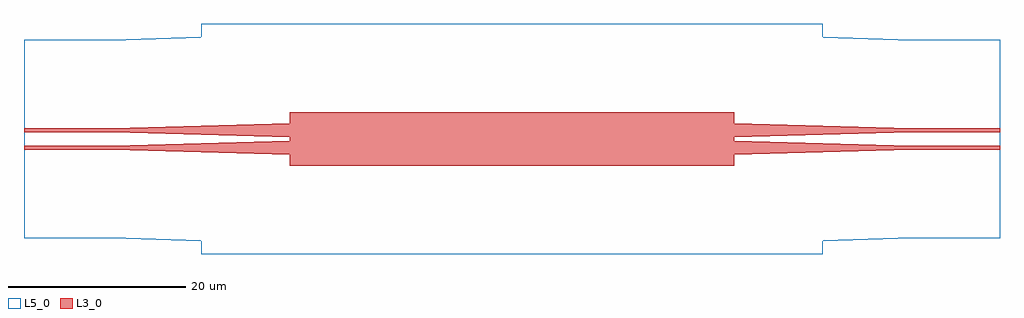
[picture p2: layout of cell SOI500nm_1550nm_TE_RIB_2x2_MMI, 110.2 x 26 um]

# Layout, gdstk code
import gdstk
lib = gdstk.Library(unit=1e-6, precision=1e-09)
def R(c, l, rs):  # rectangles x0, y0, x1, y1
    for r in rs: c.add(gdstk.rectangle(r[:2], r[2:], *l))
def P(c, l, *ps):  # polygons
    for p in ps: c.add(gdstk.Polygon(p, *l))
L3_0 = (3, 0)
L5_0 = (5, 0)

soi500nm_1550nm_te_rib_2 = lib.new_cell('SOI500nm_1550nm_TE_RIB_2x2_MMI')
R(soi500nm_1550nm_te_rib_2, L3_0, [(-25.74,-3,24.46,3), (-55.74,-1.225,-45.74,-0.775), (44.46,-1.225,54.46,-0.775), (-55.74,0.775,-45.74,1.225), (44.46,0.775,54.46,1.225)])
P(soi500nm_1550nm_te_rib_2, L3_0, [(24.46,-1.8),(24.46,-0.2),(44.46,-0.775),(44.46,-1.225)],
  [(24.46,0.2),(24.46,1.8),(44.46,1.225),(44.46,0.775)],
  [(-25.74,-1.8),(-45.74,-1.225),(-45.74,-0.775),(-25.74,-0.2)],
  [(-25.74,0.2),(-45.74,0.775),(-45.74,1.225),(-25.74,1.8)])
P(soi500nm_1550nm_te_rib_2, L5_0, [(-35.74,-13),(-35.74,-11.517),(-45.884,-11.225),(-55.74,-11.225),(-55.74,11.225),(-45.884,11.225),(-35.74,11.517),(-35.74,13),(34.46,13),(34.46,11.517),(44.604,11.225),(54.46,11.225),(54.46,-11.225),(44.604,-11.225),(34.46,-11.517),(34.46,-13)])

lib.write_gds('SOI500nm_1550nm_TE_RIB_2x2_MMI.gds')
